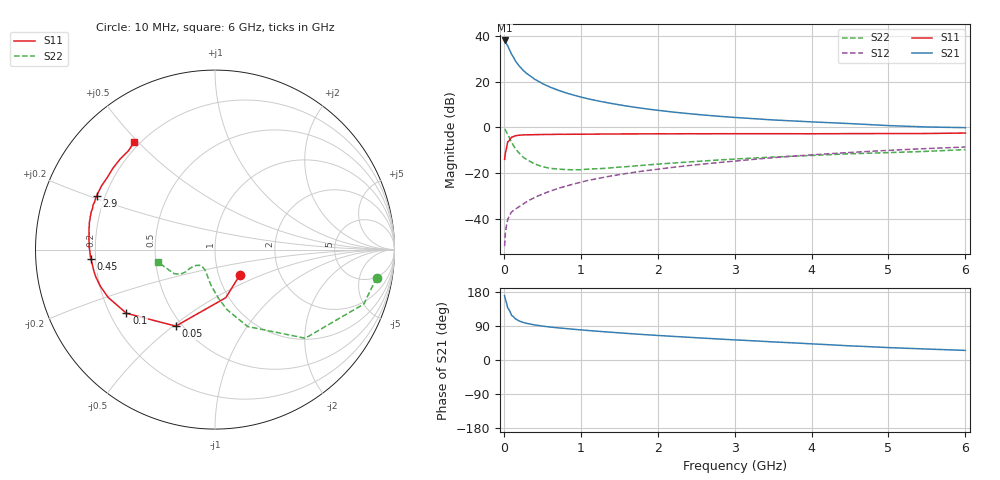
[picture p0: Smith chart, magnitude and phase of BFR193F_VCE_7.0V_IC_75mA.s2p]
! (c) 2017  Infineon Technologies AG, Munich
! Infineon Technologies  Discrete & RF Semiconductors
! BFR193F
! VCE =  7.0 V,  IC =  75 mA
! Common Emitter S-Parameters:  Jan 2017
# GHz  S  MA  R  50
!  f  S11  S21  S12  S22
! GHz  MAG  ANG  MAG  ANG  MAG  ANG  MAG  ANG
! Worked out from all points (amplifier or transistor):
!   77 points, 10 MHz to 6 GHz, reference 50 ohm
!   highest |S21| = 38.0 dB at 10 MHz (marker M1)
!   |S21| within 3 dB of that: start of sweep to 59.21 MHz
!   unconditionally stable (mu >= 1): 697.5 MHz to 2.532 GHz
!   at 130 MHz: K = 0.55, MSG = 33.3 dB, |S12| = -36.3 dB
!   at 2.2 GHz: K = 1.02, MAG = 11.2 dB, |S12| = -17.5 dB
!   at 6 GHz: K = 0.86, MSG = 4.2 dB, |S12| = -8.6 dB
!   S11 on the Smith chart (normalised r, x): 10 MHz: 1.25, -0.38; 50 MHz: 0.46, -0.51; 100 MHz: 0.27, -0.30; 450 MHz: 0.18, -0.04; 2.9 GHz: 0.17, +0.21; 6 GHz: 0.18, +0.49
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0.01  0.1988 -46.5  79.6 169.9  0.0025 84.0  0.9138 -9.9
0.02  0.2745 -77.3  76.41 160.0  0.0049 71.6  0.8828 -20.1
0.05  0.4791 -117.1  60.57 137.8  0.0095 58.8  0.7048 -44.5
0.1  0.6077 -144.3  39.73 118.0  0.014 52.1  0.4656 -67.0
0.15  0.6523 -155.9  28.45 108.6  0.0162 52.7  0.3403 -78.8
0.2  0.6704 -162.2  21.93 102.9  0.0184 55.6  0.2706 -86.1
0.25  0.6811 -166.9  17.75 99.2  0.0208 58.2  0.2227 -92.2
0.3  0.6848 -169.5  14.93 96.5  0.0237 61.1  0.1955 -97.2
0.4  0.6903 -174.1  11.29 92.4  0.029 66.4  0.1573 -104.8
0.45  0.6926 -175.5  10.18 91.1  0.0317 67.9  0.1474 -107.7
0.5  0.6952 -176.8  9.076 89.5  0.0345 69.2  0.138 -111.0
0.6  0.697 -179.2  7.602 87.0  0.0399 70.5  0.1267 -116.3
0.7  0.7021 178.7  6.536 84.9  0.0456 72.0  0.1221 -120.7
0.9  0.7049 175.5  5.104 81.2  0.057 74.0  0.1174 -127.9
1.1  0.707 172.8  4.192 77.8  0.0692 74.9  0.1217 -132.5
1.5  0.7152 168.3  3.106 71.7  0.0918 75.6  0.1344 -139.0
2.1  0.7203 162.4  2.255 63.6  0.1269 75.1  0.1607 -142.6
2.9  0.7239 155.7  1.691 54.2  0.1756 73.6  0.1973 -143.2
3.1  0.7242 154.0  1.604 52.1  0.1885 73.1  0.2062 -143.0
4.1  0.7228 145.2  1.292 41.6  0.2557 68.9  0.2459 -146.3
5.1  0.7303 135.5  1.075 32.0  0.3187 63.1  0.2829 -156.9
6  0.7495 126.9  0.983 25.3  0.3698 57.6  0.325 -167.7
